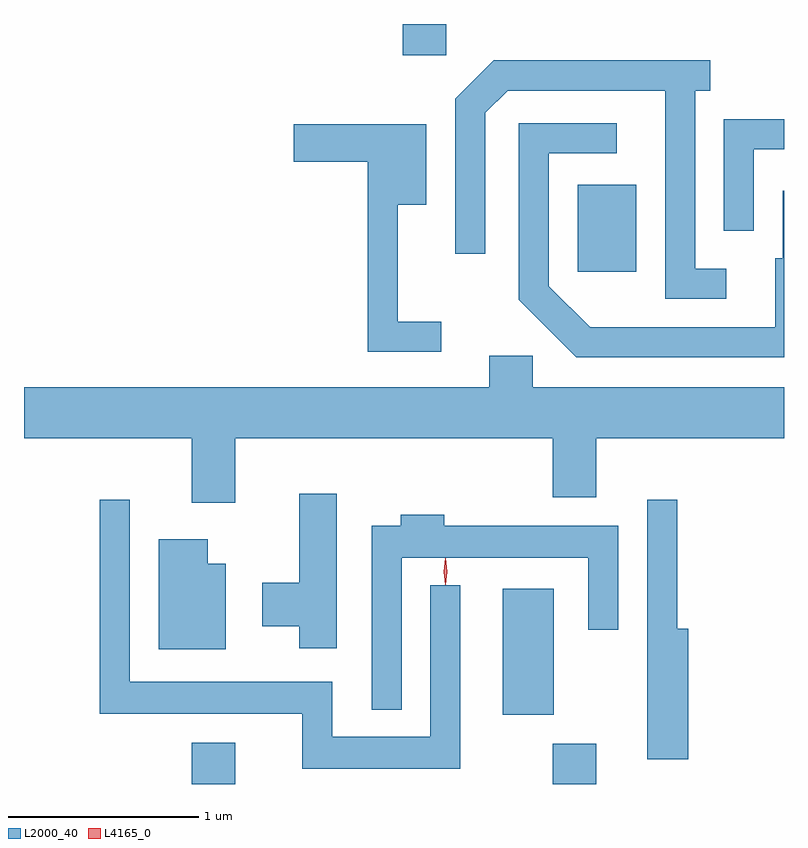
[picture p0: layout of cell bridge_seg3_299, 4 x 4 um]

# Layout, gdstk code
import gdstk
lib = gdstk.Library(unit=1e-6, precision=1e-09)
def R(c, l, rs):  # rectangles x0, y0, x1, y1
    for r in rs: c.add(gdstk.rectangle(r[:2], r[2:], *l))
def P(c, l, *ps):  # polygons
    for p in ps: c.add(gdstk.Polygon(p, *l))
L2000_40 = (2000, 40)
L4165_0 = (4165, 0)

bridge_seg3_299 = lib.new_cell('bridge_seg3_299')
R(bridge_seg3_299, L2000_40, [(528.861,1133.076,529.089,1133.294), (530.761,1133.076,530.989,1133.289), (530.496,1133.441,530.764,1134.104), (530.891,1135.771,531.199,1136.229), (529.971,1136.911,530.199,1137.076)])
P(bridge_seg3_299, L2000_40, [(531.673,1135.789),(531.509,1135.789),(531.509,1136.726),(531.588,1136.726),(531.588,1136.884),(530.449,1136.884),(530.246,1136.682),(530.246,1135.868),(530.404,1135.868),(530.404,1136.609),(530.522,1136.726),(531.351,1136.726),(531.351,1135.631),(531.673,1135.631)],
  [(531.819,1136.416),(531.977,1136.416),(531.977,1136.574),(531.661,1136.574),(531.661,1135.988),(531.819,1135.988)],
  [(531.977,1136.199),(531.971,1136.199),(531.971,1135.844),(531.931,1135.844),(531.931,1135.479),(530.957,1135.479),(530.739,1135.697),(530.739,1136.396),(531.098,1136.396),(531.098,1136.554),(530.581,1136.554),(530.581,1135.624),(530.884,1135.321),(531.977,1135.321)],
  [(530.173,1135.509),(529.944,1135.509),(529.944,1136.126),(530.094,1136.126),(530.094,1136.549),(529.396,1136.549),(529.396,1136.351),(529.786,1136.351),(529.786,1135.351),(530.173,1135.351)],
  [(529.089,1134.896),(530.761,1134.896),(530.761,1134.586),(530.989,1134.586),(530.989,1134.896),(531.977,1134.896),(531.977,1135.164),(530.654,1135.164),(530.654,1135.329),(530.426,1135.329),(530.426,1135.164),(527.977,1135.164),(527.977,1134.896),(528.861,1134.896),(528.861,1134.556),(529.089,1134.556)],
  [(529.624,1134.604),(529.426,1134.604),(529.426,1134.134),(529.231,1134.134),(529.231,1133.906),(529.426,1133.906),(529.426,1133.791),(529.624,1133.791)],
  [(530.274,1134.123),(530.116,1134.123),(530.116,1133.324),(529.599,1133.324),(529.599,1133.614),(528.534,1133.614),(528.534,1134.573),(528.376,1134.573),(528.376,1133.446),(529.441,1133.446),(529.441,1133.156),(530.274,1133.156)],
  [(531.474,1133.894),(531.414,1133.894),(531.414,1134.573),(531.256,1134.573),(531.256,1133.206),(531.474,1133.206)],
  [(529.964,1134.266),(530.946,1134.266),(530.946,1133.888),(531.104,1133.888),(531.104,1134.434),(530.189,1134.434),(530.189,1134.494),(529.961,1134.494),(529.961,1134.434),(529.806,1134.434),(529.806,1133.468),(529.964,1133.468)],
  [(529.039,1134.234),(528.944,1134.234),(528.944,1134.364),(528.686,1134.364),(528.686,1133.786),(529.039,1133.786)])
P(bridge_seg3_299, L4165_0, [(530.194,1134.124),(530.185,1134.194),(530.194,1134.263),(530.195,1134.263),(530.196,1134.263),(530.205,1134.194),(530.196,1134.124),(530.195,1134.124)],
  [(530.195,1134.127),(530.194,1134.128),(530.185,1134.194),(530.194,1134.26),(530.195,1134.261),(530.195,1134.26),(530.205,1134.194),(530.195,1134.128)])

lib.write_gds('bridge_seg3_299.gds')
